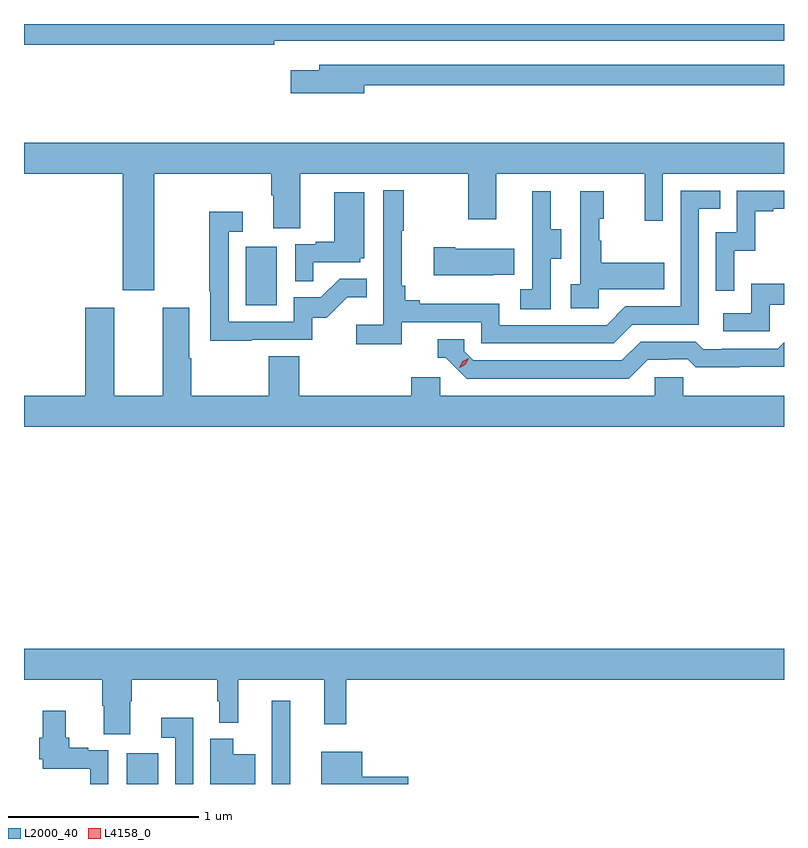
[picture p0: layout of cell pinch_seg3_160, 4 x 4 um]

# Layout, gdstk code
import gdstk
lib = gdstk.Library(unit=1e-6, precision=1e-09)
def R(c, l, rs):  # rectangles x0, y0, x1, y1
    for r in rs: c.add(gdstk.rectangle(r[:2], r[2:], *l))
def P(c, l, *ps):  # polygons
    for p in ps: c.add(gdstk.Polygon(p, *l))
L2000_40 = (2000, 40)
L4158_0 = (4158, 0)

pinch_seg3_160 = lib.new_cell('pinch_seg3_160')
R(pinch_seg3_160, L2000_40, [(1089.77,709.692,1089.934,709.855), (1090.533,709.692,1090.63,710.131), (1090.394,712.212,1090.558,712.519)])
P(pinch_seg3_160, L2000_40, [(1090.544,713.604),(1093.228,713.604),(1093.228,713.692),(1089.228,713.692),(1089.228,713.584),(1090.544,713.584)],
  [(1091.02,713.37),(1093.228,713.37),(1093.228,713.478),(1090.781,713.478),(1090.781,713.449),(1090.632,713.449),(1090.632,713.327),(1091.02,713.327)],
  [(1089.913,712.904),(1090.529,712.904),(1090.529,712.792),(1090.541,712.792),(1090.541,712.618),(1090.681,712.618),(1090.681,712.904),(1091.566,712.904),(1091.566,712.665),(1091.713,712.665),(1091.713,712.904),(1092.494,712.904),(1092.494,712.656),(1092.591,712.656),(1092.591,712.904),(1093.228,712.904),(1093.228,713.068),(1089.228,713.068),(1089.228,712.904),(1089.749,712.904),(1089.749,712.29),(1089.913,712.29)],
  [(1091.216,712.122),(1091.634,712.122),(1091.634,712.011),(1092.331,712.011),(1092.43,712.11),(1092.78,712.11),(1092.78,712.719),(1092.893,712.719),(1092.893,712.815),(1092.684,712.815),(1092.684,712.206),(1092.393,712.206),(1092.294,712.107),(1091.73,712.107),(1091.73,712.219),(1091.311,712.219),(1091.311,712.238),(1091.234,712.238),(1091.234,712.315),(1091.215,712.315),(1091.215,712.603),(1091.227,712.603),(1091.227,712.816),(1091.118,712.816),(1091.118,712.108),(1090.977,712.108),(1090.977,712.006),(1091.216,712.006)],
  [(1092.966,712.499),(1093.076,712.499),(1093.076,712.707),(1093.171,712.707),(1093.171,712.719),(1093.228,712.719),(1093.228,712.815),(1092.978,712.815),(1092.978,712.596),(1092.87,712.596),(1092.87,712.287),(1092.966,712.287)],
  [(1092.252,712.295),(1092.599,712.295),(1092.599,712.435),(1092.265,712.435),(1092.265,712.55),(1092.255,712.55),(1092.255,712.668),(1092.28,712.668),(1092.28,712.813),(1092.156,712.813),(1092.156,712.322),(1092.105,712.322),(1092.105,712.197),(1092.252,712.197)],
  [(1092,712.456),(1092.055,712.456),(1092.055,712.611),(1092.001,712.611),(1092.001,712.813),(1091.903,712.813),(1091.903,712.599),(1091.904,712.599),(1091.904,712.295),(1091.841,712.295),(1091.841,712.192),(1092,712.192)],
  [(1090.751,712.437),(1090.998,712.437),(1090.998,712.458),(1091.02,712.458),(1091.02,712.807),(1090.862,712.807),(1090.862,712.546),(1090.763,712.546),(1090.763,712.533),(1090.656,712.533),(1090.656,712.339),(1090.751,712.339)],
  [(1090.427,712.029),(1090.746,712.029),(1090.746,712.146),(1090.822,712.146),(1090.929,712.253),(1091.033,712.253),(1091.033,712.352),(1090.889,712.352),(1090.791,712.254),(1090.647,712.254),(1090.647,712.125),(1090.305,712.125),(1090.305,712.599),(1090.378,712.599),(1090.378,712.705),(1090.204,712.705),(1090.204,712.285),(1090.209,712.285),(1090.209,712.024),(1090.427,712.024)],
  [(1091.699,712.373),(1091.807,712.373),(1091.807,712.51),(1091.497,712.51),(1091.497,712.518),(1091.385,712.518),(1091.385,712.37),(1091.699,712.37)],
  [(1093.152,712.215),(1093.228,712.215),(1093.228,712.324),(1093.056,712.324),(1093.056,712.17),(1092.909,712.17),(1092.909,712.074),(1093.152,712.074)],
  [(1089.551,712.198),(1089.551,711.736),(1089.228,711.736),(1089.228,711.572),(1093.228,711.572),(1093.228,711.736),(1092.699,711.736),(1092.699,711.834),(1092.549,711.834),(1092.549,711.736),(1091.418,711.736),(1091.418,711.834),(1091.267,711.834),(1091.267,711.736),(1090.676,711.736),(1090.676,711.944),(1090.516,711.944),(1090.516,711.736),(1090.107,711.736),(1090.107,711.932),(1090.099,711.932),(1090.099,712.198),(1089.959,712.198),(1089.959,711.736),(1089.703,711.736),(1089.703,712.198)],
  [(1092.511,711.924),(1092.618,711.924),(1092.618,711.927),(1092.721,711.927),(1092.763,711.885),(1092.996,711.885),(1092.996,711.887),(1093.228,711.887),(1093.228,712.018),(1093.194,711.984),(1092.901,711.984),(1092.901,711.981),(1092.802,711.981),(1092.763,712.02),(1092.474,712.02),(1092.375,711.921),(1091.592,711.921),(1091.544,711.969),(1091.544,712.032),(1091.405,712.032),(1091.405,711.936),(1091.448,711.936),(1091.559,711.825),(1092.412,711.825)],
  [(1089.787,710.128),(1089.795,710.128),(1089.795,710.24),(1090.245,710.24),(1090.245,710.128),(1090.256,710.128),(1090.256,710.015),(1090.355,710.015),(1090.355,710.24),(1090.808,710.24),(1090.808,710.007),(1090.925,710.007),(1090.925,710.24),(1093.228,710.24),(1093.228,710.404),(1089.228,710.404),(1089.228,710.24),(1089.64,710.24),(1089.64,710.103),(1089.647,710.103),(1089.647,709.954),(1089.787,709.954)],
  [(1089.672,709.869),(1089.566,709.869),(1089.566,709.882),(1089.466,709.882),(1089.466,709.935),(1089.448,709.935),(1089.448,710.077),(1089.326,710.077),(1089.326,709.935),(1089.308,709.935),(1089.308,709.821),(1089.326,709.821),(1089.326,709.773),(1089.577,709.773),(1089.577,709.692),(1089.672,709.692)],
  [(1090.119,710.041),(1089.951,710.041),(1089.951,709.935),(1090.023,709.935),(1090.023,709.692),(1090.119,709.692)],
  [(1090.444,709.849),(1090.33,709.849),(1090.33,709.93),(1090.208,709.93),(1090.208,709.692),(1090.444,709.692)],
  [(1091.251,709.73),(1091.008,709.73),(1091.008,709.861),(1090.793,709.861),(1090.793,709.692),(1091.251,709.692)])
P(pinch_seg3_160, L4158_0, [(1091.52,711.883),(1091.52,711.884),(1091.537,711.916),(1091.568,711.934),(1091.569,711.934),(1091.569,711.934),(1091.552,711.902),(1091.521,711.883)])

lib.write_gds('pinch_seg3_160.gds')
